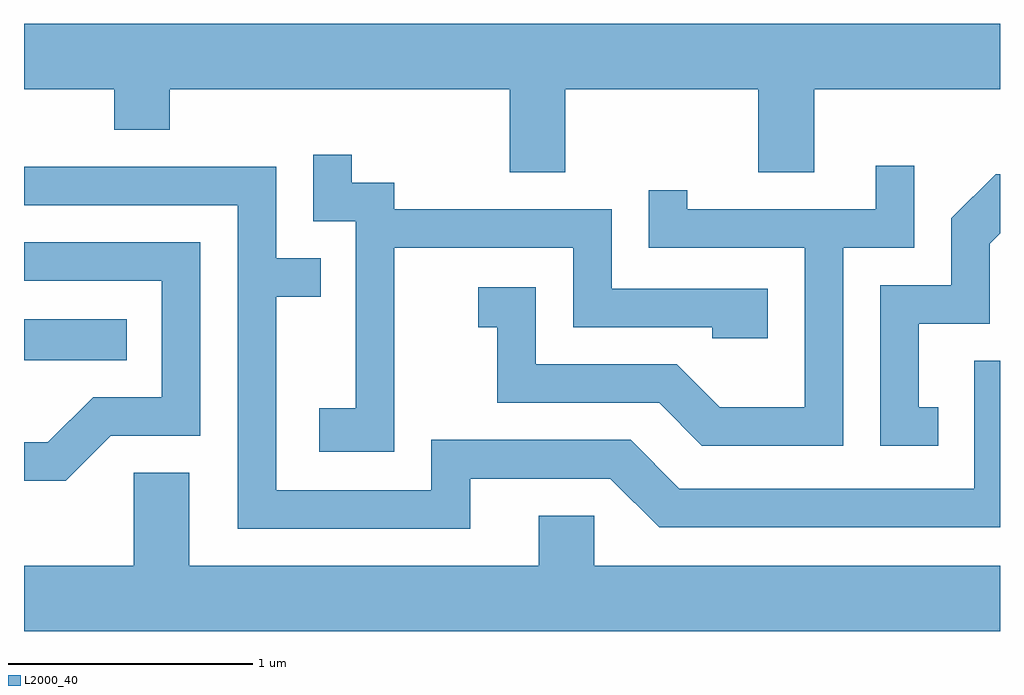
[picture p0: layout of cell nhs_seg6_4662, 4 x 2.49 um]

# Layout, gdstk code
import gdstk
lib = gdstk.Library(unit=1e-6, precision=1e-09)
def R(c, l, rs):  # rectangles x0, y0, x1, y1
    for r in rs: c.add(gdstk.rectangle(r[:2], r[2:], *l))
def P(c, l, *ps):  # polygons
    for p in ps: c.add(gdstk.Polygon(p, *l))
L2000_40 = (2000, 40)

nhs_seg6_4662 = lib.new_cell('nhs_seg6_4662')
R(nhs_seg6_4662, L2000_40, [(327.611,1597.766,328.033,1597.934)])
P(nhs_seg6_4662, L2000_40, [(329.829,1598.876),(330.621,1598.876),(330.621,1598.536),(330.849,1598.536),(330.849,1598.876),(331.611,1598.876),(331.611,1599.144),(327.611,1599.144),(327.611,1598.876),(327.981,1598.876),(327.981,1598.711),(328.209,1598.711),(328.209,1598.876),(329.601,1598.876),(329.601,1598.536),(329.829,1598.536)],
  [(329.129,1598.226),(329.861,1598.226),(329.861,1597.901),(330.431,1597.901),(330.431,1597.856),(330.659,1597.856),(330.659,1598.059),(330.019,1598.059),(330.019,1598.384),(329.129,1598.384),(329.129,1598.494),(328.954,1598.494),(328.954,1598.608),(328.796,1598.608),(328.796,1598.336),(328.971,1598.336),(328.971,1597.569),(328.821,1597.569),(328.821,1597.391),(329.129,1597.391)],
  [(330.969,1598.226),(331.259,1598.226),(331.259,1598.563),(331.101,1598.563),(331.101,1598.384),(330.329,1598.384),(330.329,1598.463),(330.171,1598.463),(330.171,1598.226),(330.811,1598.226),(330.811,1597.574),(330.462,1597.574),(330.287,1597.749),(329.709,1597.749),(329.709,1598.064),(329.473,1598.064),(329.473,1597.901),(329.551,1597.901),(329.551,1597.591),(330.214,1597.591),(330.389,1597.416),(330.969,1597.416)],
  [(329.439,1597.281),(330.014,1597.281),(330.214,1597.081),(331.611,1597.081),(331.611,1597.764),(331.506,1597.764),(331.506,1597.239),(330.297,1597.239),(330.097,1597.439),(329.281,1597.439),(329.281,1597.234),(328.644,1597.234),(328.644,1598.026),(328.828,1598.026),(328.828,1598.184),(328.644,1598.184),(328.644,1598.559),(327.611,1598.559),(327.611,1598.401),(328.486,1598.401),(328.486,1597.076),(329.439,1597.076)],
  [(331.358,1597.574),(331.279,1597.574),(331.279,1597.916),(331.569,1597.916),(331.569,1598.244),(331.611,1598.286),(331.611,1598.529),(331.594,1598.529),(331.411,1598.347),(331.411,1598.074),(331.121,1598.074),(331.121,1597.416),(331.358,1597.416)],
  [(327.967,1597.456),(328.334,1597.456),(328.334,1598.249),(327.611,1598.249),(327.611,1598.091),(328.176,1598.091),(328.176,1597.614),(327.894,1597.614),(327.709,1597.429),(327.611,1597.429),(327.611,1597.271),(327.782,1597.271)],
  [(331.611,1596.924),(329.949,1596.924),(329.949,1597.129),(329.721,1597.129),(329.721,1596.924),(328.289,1596.924),(328.289,1597.304),(328.061,1597.304),(328.061,1596.924),(327.611,1596.924),(327.611,1596.656),(331.611,1596.656)])

lib.write_gds('nhs_seg6_4662.gds')
